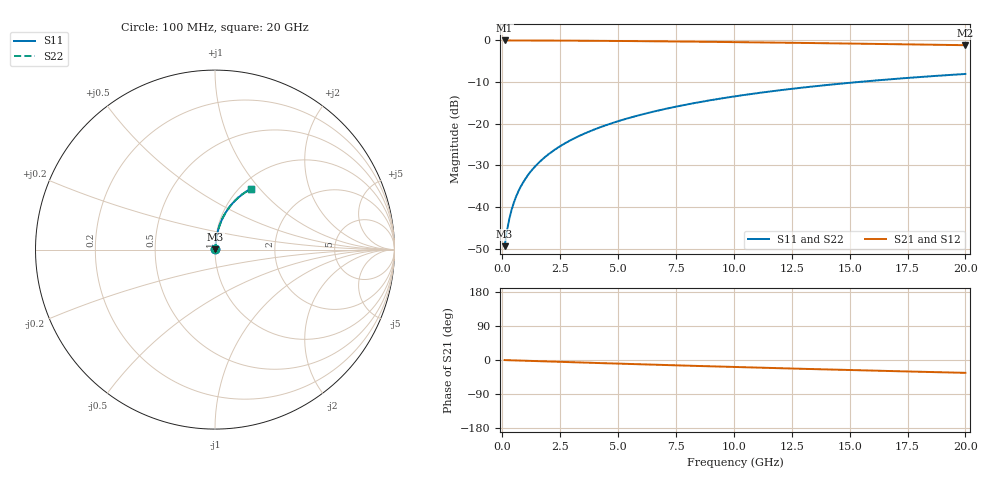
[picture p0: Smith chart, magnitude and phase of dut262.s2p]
! Touchstone file exported from HFSS 2024.1.0
!  File:  C:/UserFiles/LocalFiles/RDL_TSV_Batchsim/temp_RDL_bottom_262_1778702139.aedt
!  Generated:  03:58:19 AM May 14, 2026
!  Design:  RDL_bottom
!  Project:  temp_RDL_bottom_262_1778702139
!  Setup:  Setup1
!  Solution:  Sweep
! Variables:
!  dtsv = 10.80580581um
!  hbump = 3um
!  htsv = 96.69um
!  ldown = 407.51um
!  lrdl = 100um
!  p = 40
!  p1 = 55.24um
!  rhole = 1um
!  t = 450um
!  tdown = 4.17um
!  trdl = 3.915915916um
!  wdown = 14.03um
!  wrdl = 20um
# GHz S MA R 50.000000
! Terminal data exported
! Port[1] = RDL1_T1
! Port[2] = RDL1_T2
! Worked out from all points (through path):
!   200 points, 100 MHz to 20 GHz, reference 50 ohm
!   highest |S21| = -0.02 dB at 100 MHz (marker M1); lowest = -1.2 dB at 20 GHz (marker M2)
!   group delay of S21, straight-line fit = 4.7 ps
!   lowest |S11| = -49.4 dB at 100 MHz (marker M3), VSWR 1.01, Z = 50.3 + j0.224 ohm
!   |S11| at or under -10 dB: start of sweep to 15.34 GHz
!   |S22| runs from -49.4 to -8.1 dB; largest |S21 - S12| = 4e-15
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0.1  0.003406 40.9  0.9974 -0.2  0.9974 -0.2  0.003406 40.9
! Gamma 0 0 0 0
! Port Impedance 50 0 50 0
0.2  0.005167 59.4  0.9974 -0.4  0.9974 -0.4  0.005167 59.4
0.3  0.007177 67.8  0.9973 -0.6  0.9973 -0.6  0.007176 67.8
0.4  0.009258 72.3  0.9972 -0.8  0.9972 -0.8  0.009257 72.3
0.5  0.01136 75.1  0.9971 -1.0  0.9971 -1.0  0.01136 75.1
0.6  0.01347 77.0  0.997 -1.2  0.997 -1.2  0.01347 77.0
0.8  0.0177 79.4  0.9967 -1.6  0.9967 -1.6  0.01769 79.4
1.1  0.02405 81.3  0.9964 -2.2  0.9964 -2.2  0.02404 81.3
1.5  0.03254 82.5  0.9957 -2.9  0.9957 -2.9  0.03254 82.5
1.8  0.03893 82.9  0.9951 -3.5  0.9951 -3.5  0.03893 82.9
2.1  0.04533 83.1  0.9945 -4.1  0.9945 -4.1  0.04533 83.1
2.7  0.05814 83.0  0.9928 -5.2  0.9928 -5.2  0.05814 83.1
3.5  0.07525 82.6  0.9901 -6.8  0.9901 -6.8  0.07525 82.6
4.2  0.09022 81.9  0.9873 -8.1  0.9873 -8.1  0.09022 81.9
5  0.1073 81.0  0.9836 -9.6  0.9836 -9.6  0.1073 81.1
5.9  0.1265 79.9  0.979 -11.2  0.979 -11.2  0.1265 79.9
6.8  0.1456 78.7  0.974 -12.8  0.974 -12.8  0.1456 78.7
8.3  0.1771 76.6  0.9648 -15.5  0.9648 -15.5  0.1772 76.6
10.1  0.2144 73.9  0.9527 -18.6  0.9527 -18.6  0.2144 74.0
13.4  0.2798 68.9  0.9285 -24.0  0.9285 -24.0  0.2799 69.0
16.7  0.3405 63.9  0.9023 -29.1  0.9023 -29.1  0.3407 64.0
20  0.3956 59.1  0.875 -33.9  0.875 -33.9  0.3958 59.2
